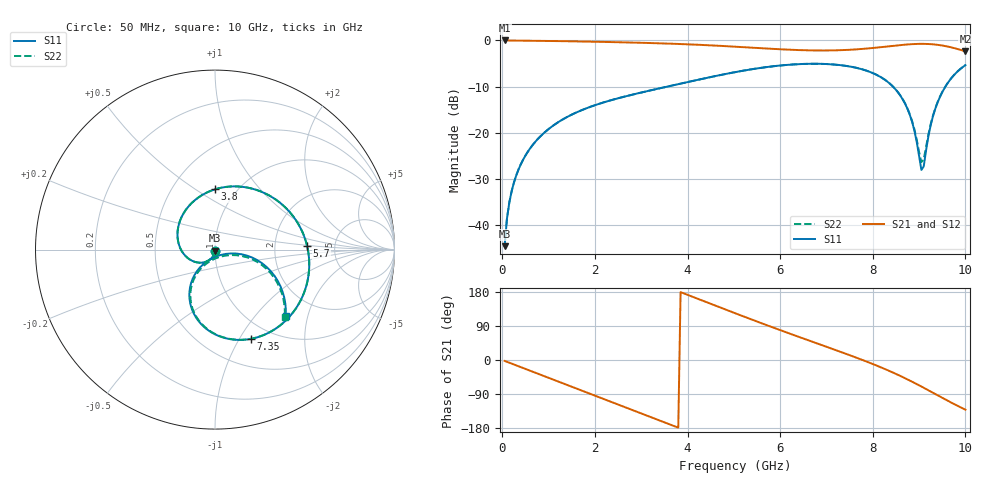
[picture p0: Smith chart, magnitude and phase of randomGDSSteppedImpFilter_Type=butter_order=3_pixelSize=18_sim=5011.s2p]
! freq	dB(S11)	phase(S11)	dB(S12)	phase(S12)
!  dB(S21)	phase(S21)	dB(S22)	phase(S22)
!S-par simulation data
#  GHz  S  DB  R 50
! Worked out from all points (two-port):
!   200 points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, 50 MHz to 10 GHz, reference 50 ohm
!   highest |S21| = 0.00 dB at 50 MHz (marker M1); lowest = -2.4 dB at 10 GHz (marker M2)
!   |S21| within 3 dB of the highest: start of sweep to end of sweep
!   lowest |S11| = -44.7 dB at 50 MHz (marker M3), VSWR 1.01, Z = 50 - j0.585 ohm
!   |S11| at or under -10 dB: start of sweep to 3.571 GHz; 8.433 GHz to 9.57 GHz (1.137 GHz wide, 12.6 % of centre)
!   |S22| runs from -44.7 to -5.1 dB; largest |S21 - S12| = 0
!   S11 on the Smith chart (normalised r, x): 50 MHz: 1.00, -0.01; 3.8 GHz: 0.80, +0.60; 5.7 GHz: 3.10, +0.18; 7.35 GHz: 0.80, -1.12; 10 GHz: 1.41, -1.47
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0.05  -44.66 -91.0  -0.00 -2.4  -0.00 -2.4  -44.66 -91.0
0.1  -38.74 -93.9  -0.01 -4.8  -0.01 -4.8  -38.74 -93.9
0.2  -32.81 -99.3  -0.02 -9.5  -0.02 -9.5  -32.81 -99.3
0.5  -24.98 -114.2  -0.04 -23.6  -0.04 -23.6  -24.98 -114.1
1.15  -18.12 -145.1  -0.13 -54.1  -0.13 -54.1  -18.12 -145.0
1.75  -14.99 -173.4  -0.23 -82.1  -0.23 -82.1  -14.99 -173.2
2.5  -12.55 151.4  -0.39 -117.2  -0.39 -117.2  -12.55 151.6
3.4  -10.39 109.0  -0.62 -159.6  -0.62 -159.6  -10.39 109.2
3.8  -9.49 90.1  -0.76 -178.6  -0.76 -178.6  -9.49 90.3
4.4  -8.16 61.9  -1.02 153.0  -1.02 153.0  -8.16 62.0
5.05  -6.84 31.7  -1.37 122.4  -1.37 122.4  -6.84 31.8
5.7  -5.79 2.3  -1.75 92.4  -1.75 92.4  -5.79 2.4
6.7  -5.06 -40.9  -2.17 48.0  -2.17 48.0  -5.06 -40.7
7.35  -5.42 -68.3  -2.10 19.5  -2.10 19.5  -5.42 -67.9
8.35  -9.23 -112.6  -1.27 -28.5  -1.27 -28.5  -9.21 -111.5
8.8  -16.15 -129.9  -0.83 -54.2  -0.83 -54.2  -16.03 -127.1
8.9  -19.63 -128.7  -0.78 -60.4  -0.78 -60.4  -19.35 -124.6
9.05  -28.11 -84.6  -0.74 -70.0  -0.74 -70.0  -26.39 -81.9
9.1  -27.35 -44.7  -0.74 -73.2  -0.74 -73.2  -25.85 -49.5
9.25  -18.42 -10.6  -0.80 -83.1  -0.80 -83.1  -18.19 -14.7
9.4  -13.45 -12.1  -0.95 -93.1  -0.95 -93.1  -13.38 -14.6
10  -5.36 -43.0  -2.37 -131.1  -2.37 -131.1  -5.36 -43.9
